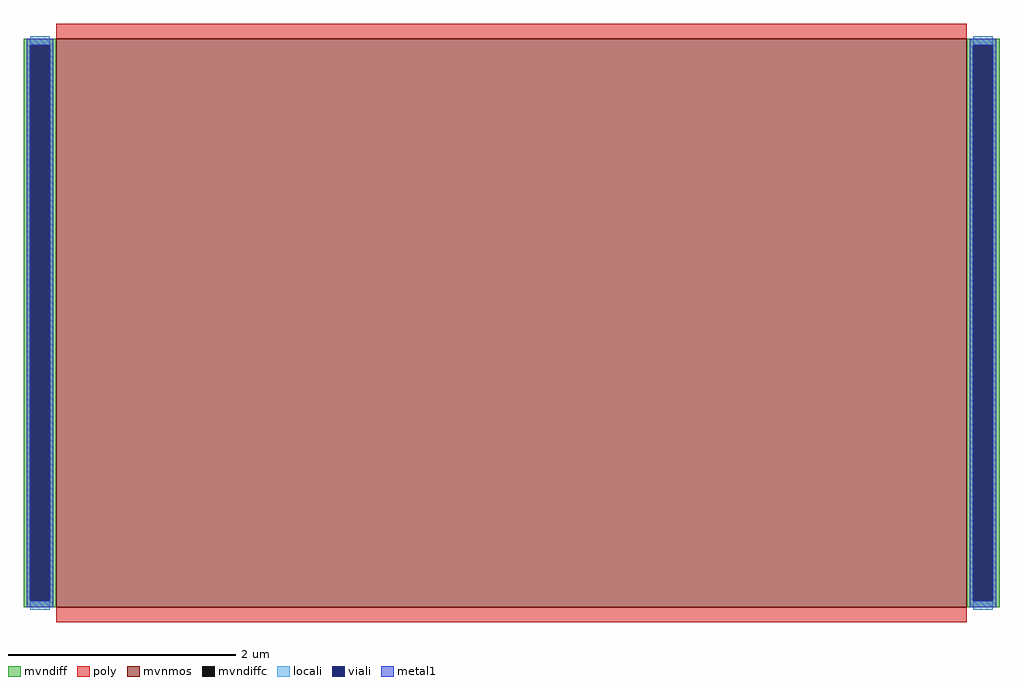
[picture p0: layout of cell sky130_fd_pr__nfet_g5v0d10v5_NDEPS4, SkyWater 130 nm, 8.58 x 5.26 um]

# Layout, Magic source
magic
tech sky130A
<< mvnmos >>
rect -400 -250 400 250
<< mvndiff >>
rect -429 244 -400 250
rect -429 -244 -423 244
rect -406 -244 -400 244
rect -429 -250 -400 -244
rect 400 244 429 250
rect 400 -244 406 244
rect 423 -244 429 244
rect 400 -250 429 -244
<< mvndiffc >>
rect -423 -244 -406 244
rect 406 -244 423 244
<< poly >>
rect -400 250 400 263
rect -400 -263 400 -250
<< locali >>
rect -423 244 -406 252
rect -423 -252 -406 -244
rect 406 244 423 252
rect 406 -252 423 -244
<< viali >>
rect -423 -244 -406 244
rect 406 -244 423 244
<< metal1 >>
rect -426 244 -403 250
rect -426 -244 -423 244
rect -406 -244 -403 244
rect -426 -250 -403 -244
rect 403 244 426 250
rect 403 -244 406 244
rect 423 -244 426 244
rect 403 -250 426 -244
<< properties >>
string gencell sky130_fd_pr__nfet_g5v0d10v5
string library sky130
string parameters w 5 l 8.0 m 1 nf 1 diffcov 100 polycov 100 guard 0 glc 1 grc 1 gtc 1 gbc 1 tbcov 100 rlcov 100 topc 0 botc 0 poverlap 0 doverlap 0 lmin 0.50 wmin 0.42 compatible {sky130_fd_pr__nfet_01v8 sky130_fd_pr__nfet_01v8_lvt  sky130_fd_bs_flash__special_sonosfet_star  sky130_fd_pr__nfet_g5v0d10v5 sky130_fd_pr__nfet_05v0_nvt  sky130_fd_pr__nfet_03v3_nvt} full_metal 1 viasrc 100 viadrn 100 viagate 100 viagb 0 viagr 0 viagl 0 viagt 0
<< end >>
